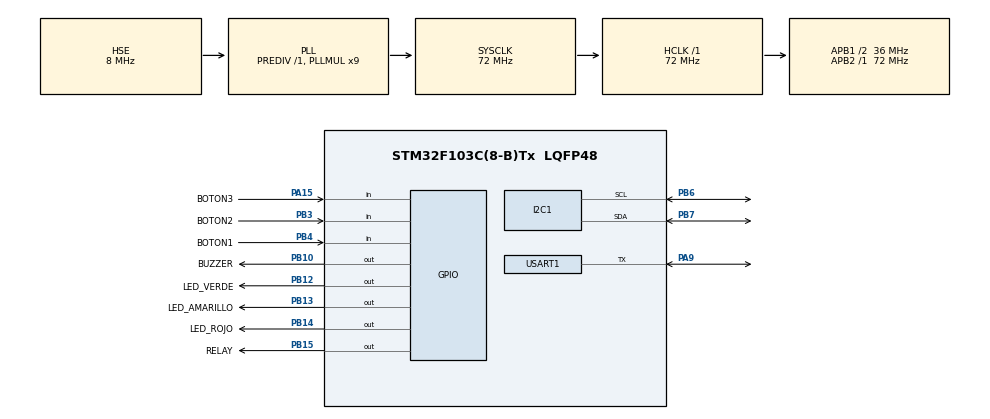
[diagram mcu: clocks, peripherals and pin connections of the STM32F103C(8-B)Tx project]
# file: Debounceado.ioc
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FREERTOS.Tasks01=defaultTask,24,128,StartDefaultTask,Default,NULL,Dynamic,NULL,NULL
FREERTOS.configUSE_NEWLIB_REENTRANT=1
Mcu.Family=STM32F1
Mcu.Name=STM32F103C(8-B)Tx
Mcu.Package=LQFP48
NVIC.PriorityGroup=NVIC_PRIORITYGROUP_4
NVIC.TIM4_IRQn=true\:15\:0\:false\:false\:true\:false\:false\:true\:true
NVIC.TimeBase=TIM4_IRQn
NVIC.TimeBaseIP=TIM4
NVIC.USART1_IRQn=true\:5\:0\:false\:false\:true\:true\:true\:true\:true
PA13.Mode=Serial_Wire
PA13.Signal=SYS_JTMS-SWDIO
PA14.Mode=Serial_Wire
PA14.Signal=SYS_JTCK-SWCLK
PA15.GPIO_Label=BOTON3
PA15.GPIO_PuPd=GPIO_PULLUP
PA15.Signal=GPIO_Input
PA9.Mode=Half_duplex(single_wire_mode)
PA9.Signal=USART1_TX
PB10.GPIO_Label=BUZZER
PB10.Signal=GPIO_Output
PB12.GPIO_Label=LED_VERDE
PB12.Signal=GPIO_Output
PB13.GPIO_Label=LED_AMARILLO
PB13.Signal=GPIO_Output
PB14.GPIO_Label=LED_ROJO
PB14.Signal=GPIO_Output
PB15.GPIO_Label=RELAY
PB15.Signal=GPIO_Output
PB3.GPIO_Label=BOTON2
PB3.GPIO_PuPd=GPIO_PULLUP
PB3.Signal=GPIO_Input
PB4.GPIO_Label=BOTON1
PB4.GPIO_PuPd=GPIO_PULLUP
PB4.Signal=GPIO_Input
PB6.Mode=I2C
PB6.Signal=I2C1_SCL
PB7.Mode=I2C
PB7.Signal=I2C1_SDA
PC14-OSC32_IN.Mode=LSE-External-Oscillator
PC14-OSC32_IN.Signal=RCC_OSC32_IN
PC15-OSC32_OUT.Mode=LSE-External-Oscillator
PC15-OSC32_OUT.Signal=RCC_OSC32_OUT
PD0-OSC_IN.Mode=HSE-External-Oscillator
PD0-OSC_IN.Signal=RCC_OSC_IN
PD1-OSC_OUT.Mode=HSE-External-Oscillator
PD1-OSC_OUT.Signal=RCC_OSC_OUT
ProjectManager.HeapSize=0x200
ProjectManager.StackSize=0x400
ProjectManager.TargetToolchain=STM32CubeIDE
RCC.AHBFreq_Value=72000000
RCC.APB1CLKDivider=RCC_HCLK_DIV2
RCC.APB1Freq_Value=36000000
RCC.APB1TimFreq_Value=72000000
RCC.APB2Freq_Value=72000000
RCC.APB2TimFreq_Value=72000000
RCC.HCLKFreq_Value=72000000
RCC.PLLMUL=RCC_PLL_MUL9
RCC.PLLSourceVirtual=RCC_PLLSOURCE_HSE
RCC.SYSCLKFreq_VALUE=72000000
RCC.SYSCLKSource=RCC_SYSCLKSOURCE_PLLCLK
RCC.USBFreq_Value=72000000
RTC.Date=17
RTC.Format=RTC_FORMAT_BIN
RTC.Hours=17
RTC.Minutes=15
RTC.Month=RTC_MONTH_DECEMBER
RTC.WeekDay=RTC_WEEKDAY_SATURDAY
RTC.Year=22
USART1.VirtualMode=VM_ASYNC
VP_FREERTOS_VS_CMSIS_V2.Mode=CMSIS_V2
VP_RTC_No_RTC_Output.Mode=RTC_OUT_NO
VP_RTC_VS_RTC_Activate.Mode=RTC_Enabled
VP_RTC_VS_RTC_Calendar.Mode=RTC_Calendar
VP_SYS_VS_tim4.Mode=TIM4
board=custom

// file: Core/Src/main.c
/* USER CODE BEGIN Header */
/**
  ******************************************************************************
  * @file           : main.c
  * @brief          : Main program body
  ******************************************************************************
  * @attention
  *
  * Copyright (c) 2022 STMicroelectronics.
  * All rights reserved.
  *
  * This software is licensed under terms that can be found in the LICENSE file
  * in the root directory of this software component.
  * If no LICENSE file comes with this software, it is provided AS-IS.
  *
  ******************************************************************************
  */
/* USER CODE END Header */
#include "main.h"
#include "cmsis_os.h"

/* USER CODE BEGIN Includes */
#include "liquidcrystal_i2c.h"
#include "OneWire.h"
#include "stdio.h"
#include "MdE.h"
#include "funciones.h"
//#include "handlers.h"
/* USER CODE END Includes */

/* USER CODE BEGIN PM */
void my_ftoa(float n, char* res, int afterpoint);
int intToStr(int x, char str[], int d);
void reverse(char* str, int len);
/* USER CODE END PM */

 I2C_HandleTypeDef hi2c1;

RTC_HandleTypeDef hrtc;

UART_HandleTypeDef huart1;

/* Definitions for defaultTask */
osThreadId_t defaultTaskHandle;
const osThreadAttr_t defaultTask_attributes = {
  .name = "defaultTask",
  .stack_size = 128 * 4,
  .priority = (osPriority_t) osPriorityNormal,
};

void SystemClock_Config(void);
static void MX_GPIO_Init(void);
static void MX_I2C1_Init(void);
static void MX_USART1_UART_Init(void);
static void MX_RTC_Init(void);
void StartDefaultTask(void *argument);

/* USER CODE BEGIN 0 */
extern float Temp[MAXDEVICES_ON_THE_BUS];
TaskHandle_t Handler_Lectura;
TaskHandle_t Handler_Sensores;
TaskHandle_t Handler_Anafe;
TaskHandle_t Handler_Timer;
/* USER CODE END 0 */

int main(void)
{
  /* USER CODE BEGIN 1 */
//  char temp_dis0[5], temp_dis1[5];
  /* USER CODE END 1 */

  /* MCU Configuration--------------------------------------------------------*/

  /* Reset of all peripherals, Initializes the Flash interface and the Systick. */
  HAL_Init();

  /* Configure the system clock */
  SystemClock_Config();

  /* Initialize all configured peripherals */
  MX_GPIO_Init();
  MX_I2C1_Init();
  MX_USART1_UART_Init();
  MX_RTC_Init();
  /* USER CODE BEGIN 2 */

  InitAll();

  /* USER CODE END 2 */

  /* Init scheduler */
  osKernelInitialize();

  /* Create the thread(s) */
  /* creation of defaultTask */
  defaultTaskHandle = osThreadNew(StartDefaultTask, NULL, &defaultTask_attributes);

  /* USER CODE BEGIN RTOS_THREADS */
  /* add threads, ... */

  // Las 3 tareas estas tienen que crear un handle

  //xTaskCreate(Error_Sensores, "Chequeo Error Sensores", configMINIMAL_STACK_SIZE, NULL, 1, NULL);
  //xTaskCreate(Error_Anafe, "Chequeo Error Anafe", configMINIMAL_STACK_SIZE, NULL, 1, NULL);
 // xTaskCreate(Tarea_Lectura, "Tarea Lectura Temperatura", configMINIMAL_STACK_SIZE, NULL, 1, NULL);

  xTaskCreate(MdE_Principal, "MdE", configMINIMAL_STACK_SIZE, NULL, 1, NULL);
  xTaskCreate(DriverTeclado, "Driver Teclado", configMINIMAL_STACK_SIZE, NULL, 1, NULL);
  xTaskCreate(Tarea_Lectura, "Lectura Temperatura", configMINIMAL_STACK_SIZE, NULL, 1, Handler_Lectura);
  xTaskCreate(Error_Sensores, "Error Sensores", configMINIMAL_STACK_SIZE, NULL, 1, Handler_Sensores);
  xTaskCreate(Error_Anafe, "Error Anafe", configMINIMAL_STACK_SIZE, NULL, 1, Handler_Anafe);
  xTaskCreate(Tarea_Timer, "Tarea Timer",configMINIMAL_STACK_SIZE,NULL, 1, Handler_Timer);
  //Falta tarea de SD

  /* USER CODE END RTOS_THREADS */

  /* Start scheduler */
  osKernelStart();

  /* We should never get here as control is now taken by the scheduler */
  /* Infinite loop */
  while (1)
  {

    /* USER CODE BEGIN 3 */
//	get_Temperature();
//	my_ftoa(Temp[0], temp_dis0, 2);
//	my_ftoa(Temp[1], temp_dis1, 2);
//
//	HD44780_Clear();
//	HD44780_SetCursor(0,0);
//	HD44780_PrintStr("Temp s0: ");
//	HD44780_SetCursor(9,0);
//	HD44780_PrintStr(temp_dis0);
//	HD44780_SetCursor(0,1);
//	HD44780_PrintStr("Temp s1: ");
//	HD44780_SetCursor(9,1);
//	HD44780_PrintStr(temp_dis1);
//
//	HAL_Delay(1000);
  }
  /* USER CODE END 3 */
}

void SystemClock_Config(void)
{
  RCC_OscInitTypeDef RCC_OscInitStruct = {0};
  RCC_ClkInitTypeDef RCC_ClkInitStruct = {0};
  RCC_PeriphCLKInitTypeDef PeriphClkInit = {0};

  /** Initializes the RCC Oscillators according to the specified parameters
  * in the RCC_OscInitTypeDef structure.
  */
  RCC_OscInitStruct.OscillatorType = RCC_OSCILLATORTYPE_LSI|RCC_OSCILLATORTYPE_HSE;
  RCC_OscInitStruct.HSEState = RCC_HSE_ON;
  RCC_OscInitStruct.HSEPredivValue = RCC_HSE_PREDIV_DIV1;
  RCC_OscInitStruct.HSIState = RCC_HSI_ON;
  RCC_OscInitStruct.LSIState = RCC_LSI_ON;
  RCC_OscInitStruct.PLL.PLLState = RCC_PLL_ON;
  RCC_OscInitStruct.PLL.PLLSource = RCC_PLLSOURCE_HSE;
  RCC_OscInitStruct.PLL.PLLMUL = RCC_PLL_MUL9;
  if (HAL_RCC_OscConfig(&RCC_OscInitStruct) != HAL_OK)
  {
    Error_Handler();
  }

  /** Initializes the CPU, AHB and APB buses clocks
  */
  RCC_ClkInitStruct.ClockType = RCC_CLOCKTYPE_HCLK|RCC_CLOCKTYPE_SYSCLK
                              |RCC_CLOCKTYPE_PCLK1|RCC_CLOCKTYPE_PCLK2;
  RCC_ClkInitStruct.SYSCLKSource = RCC_SYSCLKSOURCE_PLLCLK;
  RCC_ClkInitStruct.AHBCLKDivider = RCC_SYSCLK_DIV1;
  RCC_ClkInitStruct.APB1CLKDivider = RCC_HCLK_DIV2;
  RCC_ClkInitStruct.APB2CLKDivider = RCC_HCLK_DIV1;

  if (HAL_RCC_ClockConfig(&RCC_ClkInitStruct, FLASH_LATENCY_2) != HAL_OK)
  {
    Error_Handler();
  }
  PeriphClkInit.PeriphClockSelection = RCC_PERIPHCLK_RTC;
  PeriphClkInit.RTCClockSelection = RCC_RTCCLKSOURCE_LSI;
  if (HAL_RCCEx_PeriphCLKConfig(&PeriphClkInit) != HAL_OK)
  {
    Error_Handler();
  }
}

static void MX_I2C1_Init(void)
{

  hi2c1.Instance = I2C1;
  hi2c1.Init.ClockSpeed = 100000;
  hi2c1.Init.DutyCycle = I2C_DUTYCYCLE_2;
  hi2c1.Init.OwnAddress1 = 0;
  hi2c1.Init.AddressingMode = I2C_ADDRESSINGMODE_7BIT;
  hi2c1.Init.DualAddressMode = I2C_DUALADDRESS_DISABLE;
  hi2c1.Init.OwnAddress2 = 0;
  hi2c1.Init.GeneralCallMode = I2C_GENERALCALL_DISABLE;
  hi2c1.Init.NoStretchMode = I2C_NOSTRETCH_DISABLE;
  if (HAL_I2C_Init(&hi2c1) != HAL_OK)
  {
    Error_Handler();
  }

}

static void MX_RTC_Init(void)
{

//  RTC_TimeTypeDef sTime = {0};                COMENTADO PERO NO QUEDA ASI
  RTC_DateTypeDef DateToUpdate = {0};

  /** Initialize RTC Only
  */
  hrtc.Instance = RTC;
  hrtc.Init.AsynchPrediv = RTC_AUTO_1_SECOND;
  hrtc.Init.OutPut = RTC_OUTPUTSOURCE_NONE;
  if (HAL_RTC_Init(&hrtc) != HAL_OK)
  {
    Error_Handler();
  }

  /** Initialize RTC and set the Time and Date              DESCOMENTAR TODO ESTO
  */
//  sTime.Hours = 17;
//  sTime.Minutes = 15;
//  sTime.Seconds = 0;
//
//  if (HAL_RTC_SetTime(&hrtc, &sTime, RTC_FORMAT_BIN) != HAL_OK)
//  {
//    Error_Handler();
//  }
//  DateToUpdate.WeekDay = RTC_WEEKDAY_SATURDAY;
//  DateToUpdate.Month = RTC_MONTH_DECEMBER;
//  DateToUpdate.Date = 17;
//  DateToUpdate.Year = 22;
//
//  if (HAL_RTC_SetDate(&hrtc, &DateToUpdate, RTC_FORMAT_BIN) != HAL_OK)
//  {
//    Error_Handler();
//  }

}

static void MX_USART1_UART_Init(void)
{

  huart1.Instance = USART1;
  huart1.Init.BaudRate = 115200;
  huart1.Init.WordLength = UART_WORDLENGTH_8B;
  huart1.Init.StopBits = UART_STOPBITS_1;
  huart1.Init.Parity = UART_PARITY_NONE;
  huart1.Init.Mode = UART_MODE_TX_RX;
  huart1.Init.HwFlowCtl = UART_HWCONTROL_NONE;
  huart1.Init.OverSampling = UART_OVERSAMPLING_16;
  if (HAL_HalfDuplex_Init(&huart1) != HAL_OK)
  {
    Error_Handler();
  }

}

static void MX_GPIO_Init(void)
{
  GPIO_InitTypeDef GPIO_InitStruct = {0};

  /* GPIO Ports Clock Enable */
  __HAL_RCC_GPIOC_CLK_ENABLE();
  __HAL_RCC_GPIOD_CLK_ENABLE();
  __HAL_RCC_GPIOB_CLK_ENABLE();
  __HAL_RCC_GPIOA_CLK_ENABLE();

  /*Configure GPIO pin Output Level */
  HAL_GPIO_WritePin(GPIOB, BUZZER_Pin|LED_VERDE_Pin|LED_AMARILLO_Pin|LED_ROJO_Pin
                          |RELAY_Pin, GPIO_PIN_RESET);

  /*Configure GPIO pins : BUZZER_Pin LED_VERDE_Pin LED_AMARILLO_Pin LED_ROJO_Pin
                           RELAY_Pin */
  GPIO_InitStruct.Pin = BUZZER_Pin|LED_VERDE_Pin|LED_AMARILLO_Pin|LED_ROJO_Pin
                          |RELAY_Pin;
  GPIO_InitStruct.Mode = GPIO_MODE_OUTPUT_PP;
  GPIO_InitStruct.Pull = GPIO_NOPULL;
  GPIO_InitStruct.Speed = GPIO_SPEED_FREQ_LOW;
  HAL_GPIO_Init(GPIOB, &GPIO_InitStruct);

  /*Configure GPIO pin : BOTON3_Pin */
  GPIO_InitStruct.Pin = BOTON3_Pin;
  GPIO_InitStruct.Mode = GPIO_MODE_INPUT;
  GPIO_InitStruct.Pull = GPIO_PULLUP;
  HAL_GPIO_Init(BOTON3_GPIO_Port, &GPIO_InitStruct);

  /*Configure GPIO pins : BOTON2_Pin BOTON1_Pin */
  GPIO_InitStruct.Pin = BOTON2_Pin|BOTON1_Pin;
  GPIO_InitStruct.Mode = GPIO_MODE_INPUT;
  GPIO_InitStruct.Pull = GPIO_PULLUP;
  HAL_GPIO_Init(GPIOB, &GPIO_InitStruct);

}

void StartDefaultTask(void *argument)
{
  for(;;)
  {
    osDelay(1);
  }
}

void HAL_TIM_PeriodElapsedCallback(TIM_HandleTypeDef *htim)
{
  if (htim->Instance == TIM4) {
    HAL_IncTick();
  }
}

void Error_Handler(void)
{
  __disable_irq();
  while (1)
  {
  }
}
